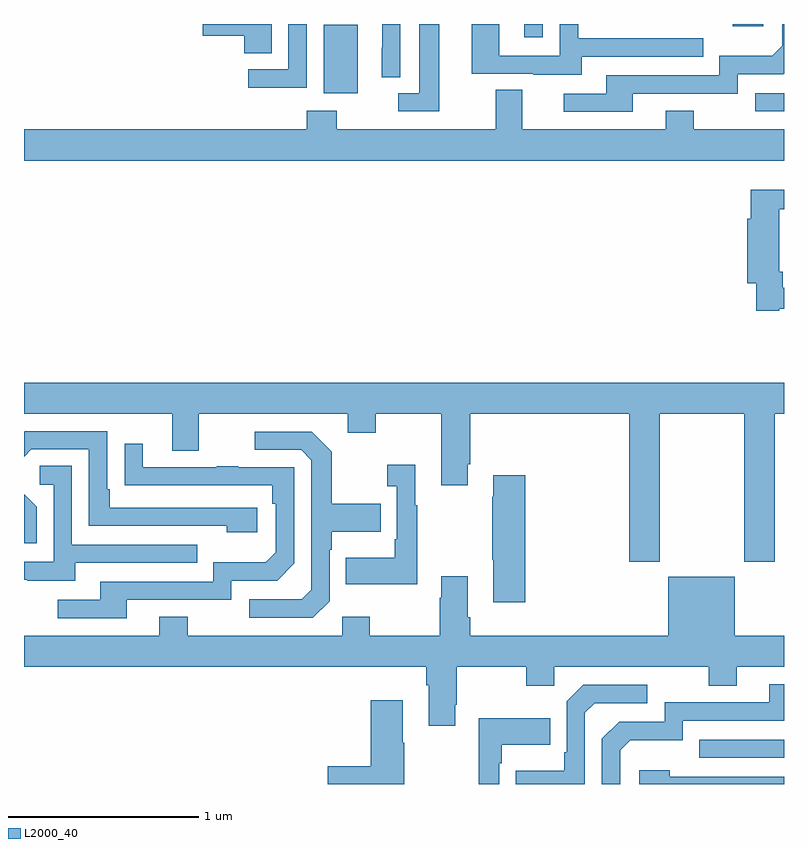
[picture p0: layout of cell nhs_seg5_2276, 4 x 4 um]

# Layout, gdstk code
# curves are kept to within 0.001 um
import gdstk
lib = gdstk.Library(unit=1e-6, precision=1e-09)
def R(c, l, rs):  # rectangles x0, y0, x1, y1
    for r in rs: c.add(gdstk.rectangle(r[:2], r[2:], *l))
def P(c, l, *ps):  # polygons
    for p in ps: c.add(gdstk.Polygon(p, *l))
L2000_40 = (2000, 40)

nhs_seg5_2276 = lib.new_cell('nhs_seg5_2276')
R(nhs_seg5_2276, L2000_40, [(246.553,866.937,247,867.033), (246.849,870.339,247,870.435), (244.577,870.434,244.756,870.795), (245.633,870.729,245.73,870.799), (246.731,870.788,246.892,870.799)])
P(nhs_seg5_2276, L2000_40, [(244.303,870.799),(243.942,870.799),(243.942,870.737),(244.16,870.737),(244.16,870.646),(244.303,870.646)],
  [(246.205,870.432),(246.756,870.432),(246.756,870.534),(246.996,870.534),(247,870.538),(247,870.799),(246.99,870.799),(246.99,870.684),(246.937,870.631),(246.66,870.631),(246.66,870.528),(246.065,870.528),(246.065,870.432),(245.841,870.432),(245.841,870.336),(246.205,870.336)],
  [(244.98,870.799),(244.884,870.799),(244.886,870.797),(244.886,870.674),(244.884,870.674),(244.884,870.52),(244.98,870.52)],
  [(244.488,870.799),(244.392,870.799),(244.392,870.561),(244.179,870.561),(244.179,870.463),(244.488,870.463)],
  [(245.185,870.799),(245.081,870.799),(245.081,870.435),(244.971,870.435),(244.971,870.339),(245.185,870.339)],
  [(245.935,870.627),(246.575,870.627),(246.575,870.723),(245.916,870.723),(245.916,870.799),(245.82,870.799),(245.82,870.633),(245.502,870.633),(245.502,870.799),(245.357,870.799),(245.357,870.537),(245.681,870.537),(245.681,870.533),(245.935,870.533)],
  [(247,870.244),(246.525,870.244),(246.525,870.343),(246.377,870.343),(246.377,870.244),(245.623,870.244),(245.623,870.452),(245.483,870.452),(245.483,870.244),(244.647,870.244),(244.647,870.343),(244.487,870.343),(244.487,870.244),(243,870.244),(243,870.08),(247,870.08)],
  [(246.976,869.301),(247,869.301),(247,869.41),(246.994,869.41),(246.994,869.494),(246.976,869.494),(246.976,869.824),(247,869.824),(247,869.926),(246.824,869.926),(246.824,869.775),(246.806,869.775),(246.806,869.435),(246.855,869.435),(246.855,869.289),(246.976,869.289)],
  [(246.345,868.748),(246.79,868.748),(246.79,867.969),(246.95,867.969),(246.95,868.748),(247,868.748),(247,868.912),(243,868.912),(243,868.748),(243.779,868.748),(243.779,868.554),(243.919,868.554),(243.919,868.748),(244.703,868.748),(244.703,868.649),(244.851,868.649),(244.851,868.748),(245.195,868.748),(245.195,868.371),(245.335,868.371),(245.335,868.483),(245.348,868.483),(245.348,868.748),(246.185,868.748),(246.185,867.969),(246.345,867.969)],
  [(244.228,868.254),(243.451,868.254),(243.451,868.351),(243.438,868.351),(243.438,868.656),(243.003,868.656),(243,868.653),(243,868.521),(243.039,868.56),(243.342,868.56),(243.342,868.158),(244.067,868.158),(244.067,868.124),(244.228,868.124)],
  [(244.608,867.762),(244.608,868.031),(244.621,868.031),(244.621,868.127),(244.877,868.127),(244.877,868.275),(244.621,868.275),(244.621,868.547),(244.515,868.653),(244.215,868.653),(244.215,868.557),(244.458,868.557),(244.512,868.503),(244.512,867.822),(244.461,867.771),(244.185,867.771),(244.185,867.675),(244.521,867.675)],
  [(243.541,867.768),(244.092,867.768),(244.092,867.87),(244.332,867.87),(244.422,867.96),(244.422,868.467),(244.127,868.467),(244.127,868.472),(244.015,868.472),(244.015,868.467),(243.625,868.467),(243.625,868.591),(243.529,868.591),(243.529,868.372),(244.306,868.371),(244.306,868.274),(244.326,868.274),(244.326,868.02),(244.273,867.967),(243.996,867.967),(243.996,867.864),(243.401,867.864),(243.401,867.768),(243.177,867.768),(243.177,867.672),(243.541,867.672)],
  [(245.071,868.267),(245.059,868.267),(245.059,868.48),(244.911,868.48),(244.911,868.367),(244.962,868.367),(244.962,868.087),(244.95,868.087),(244.95,867.991),(244.693,867.991),(244.693,867.851),(245.071,867.851)],
  [(243.271,867.963),(243.911,867.963),(243.911,868.059),(243.252,868.059),(243.252,868.475),(243.084,868.475),(243.084,868.374),(243.156,868.374),(243.156,867.969),(243,867.969),(243,867.873),(243.017,867.873),(243.017,867.869),(243.271,867.869)],
  [(245.639,868.423),(245.471,868.423),(245.471,868.31),(245.464,868.31),(245.464,867.979),(245.471,867.979),(245.471,867.756),(245.639,867.756)],
  [(243.066,868.258),(243,868.324),(243,868.065),(243.066,868.065)],
  [(245.269,867.217),(245.277,867.217),(245.277,867.416),(245.644,867.416),(245.644,867.317),(245.79,867.317),(245.79,867.416),(246.604,867.416),(246.604,867.317),(246.751,867.317),(246.751,867.416),(247,867.416),(247,867.58),(246.742,867.58),(246.742,867.889),(246.392,867.889),(246.392,867.58),(245.348,867.58),(245.348,867.676),(245.335,867.676),(245.335,867.892),(245.195,867.892),(245.195,867.779),(245.188,867.779),(245.188,867.58),(244.821,867.58),(244.821,867.679),(244.674,867.679),(244.674,867.58),(243.861,867.58),(243.861,867.679),(243.713,867.679),(243.713,867.58),(243,867.58),(243,867.416),(245.117,867.416),(245.117,867.32),(245.129,867.32),(245.129,867.105),(245.269,867.105)],
  [(246.138,866.976),(246.191,867.029),(246.468,867.029),(246.468,867.132),(247,867.132),(247,867.324),(246.923,867.324),(246.923,867.228),(246.372,867.228),(246.372,867.126),(246.132,867.126),(246.042,867.036),(246.042,866.799),(246.138,866.799)],
  [(245.952,867.174),(246.003,867.225),(246.28,867.225),(246.28,867.321),(245.943,867.321),(245.856,867.234),(245.856,866.965),(245.844,866.965),(245.844,866.869),(245.587,866.869),(245.587,866.799),(245.952,866.799)],
  [(245.001,867.017),(244.993,867.017),(244.993,867.241),(244.826,867.241),(244.826,866.893),(244.598,866.893),(244.598,866.799),(245.001,866.799)],
  [(245.502,866.909),(245.515,866.909),(245.515,867.005),(245.771,867.005),(245.771,867.145),(245.394,867.145),(245.394,866.799),(245.502,866.799)],
  [(247,866.838),(246.398,866.838),(246.398,866.872),(246.237,866.872),(246.237,866.799),(247,866.799)])

lib.write_gds('nhs_seg5_2276.gds')
